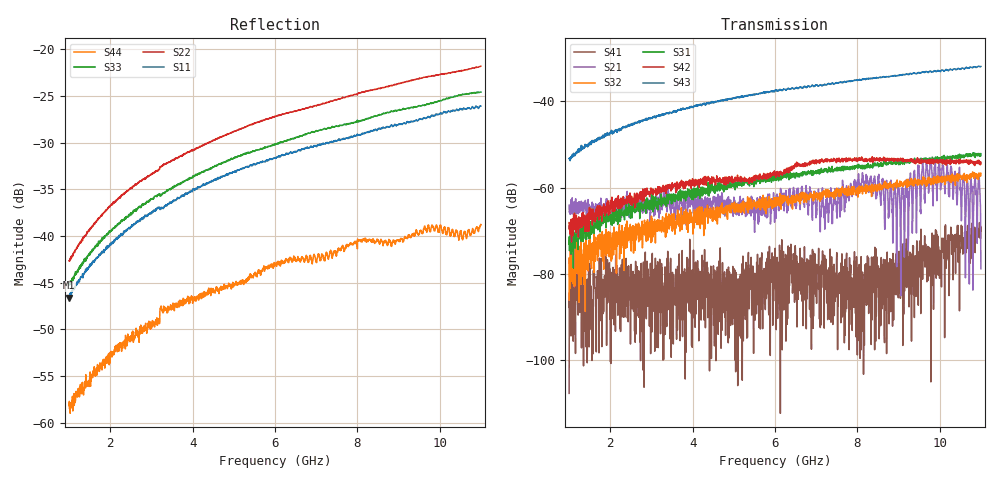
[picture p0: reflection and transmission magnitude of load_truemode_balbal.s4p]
!Agilent Technologies,N5225A,MY51451011,A.09.90.21
!Agilent N5225A: A.09.90.21
!Date: Tuesday, July 07, 2020 17:08:48
!Correction: Sdd11(Full 4 Port(1,2,3,4))
!Sdc11(Full 4 Port(1,2,3,4))
!Sdd12(Full 4 Port(1,2,3,4))
!Sdc12(Full 4 Port(1,2,3,4))
!Scd11(Full 4 Port(1,2,3,4))
!Scc11(Full 4 Port(1,2,3,4))
!Scd12(Full 4 Port(1,2,3,4))
!Scc12(Full 4 Port(1,2,3,4))
!Sdd21(Full 4 Port(1,2,3,4))
!Sdc21(Full 4 Port(1,2,3,4))
!Sdd22(Full 4 Port(1,2,3,4))
!Sdc22(Full 4 Port(1,2,3,4))
!Scd21(Full 4 Port(1,2,3,4))
!Scc21(Full 4 Port(1,2,3,4))
!Scd22(Full 4 Port(1,2,3,4))
!Scc22(Full 4 Port(1,2,3,4))
!Balanced Topology: BBAL
!S4P File: Measurements: <Sdd11,Sdc11,Sdd12,Sdc12>,
!<Scd11,Scc11,Scd12,Scc12>,
!<Sdd21,Sdc21,Sdd22,Sdc22>,
!<Scd21,Scc21,Scd22,Scc22>:
# Hz S  RI  R 50
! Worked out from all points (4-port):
!   2001 points, 1 GHz to 11 GHz, reference 50 ohm
!   strongest paths, dB at 1 GHz, 3.5 GHz, 6 GHz, 8.5 GHz, 11 GHz:
!     S43: -53.2, -42.6, -37.4, -34.5, -31.9
!     S42: -68.1, -59.8, -56.5, -53.2, -54.5
!     S31: -73.2, -63.1, -57.6, -54.5, -52.1
!     S32: -86.1, -70.0, -63.7, -60.6, -57.2
!     S21: -64.1, -64.8, -64.1, -57.7, -78.8
!     S41: -107.8, -83.2, -82.0, -81.4, -70.1
!   lowest |S11| = -46.6 dB at 1 GHz (marker M1), VSWR 1.01, Z = 49.9 - j0.456 ohm
!   |S11| at or under -10 dB: start of sweep to end of sweep
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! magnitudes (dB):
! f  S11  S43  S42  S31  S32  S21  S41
! 1 GHz  -46.6  -53.2  -68.1  -73.2  -86.1  -64.1  -107.8
! 7.61 GHz  -29.6  -35.6  -53.5  -55.5  -60.6  -64.0  -77.5
! 8.325 GHz  -28.7  -34.7  -53.6  -54.7  -60.5  -58.2  -84.0
! 9.205 GHz  -27.8  -33.6  -53.7  -54.1  -59.9  -62.3  -75.6
! 9.755 GHz  -27.3  -33.0  -54.5  -53.5  -58.5  -56.2  -77.4
! 10.46 GHz  -26.5  -32.4  -54.3  -53.1  -57.2  -56.6  -71.8
! 11 GHz  -26.1  -31.9  -54.5  -52.1  -57.2  -78.8  -70.1
